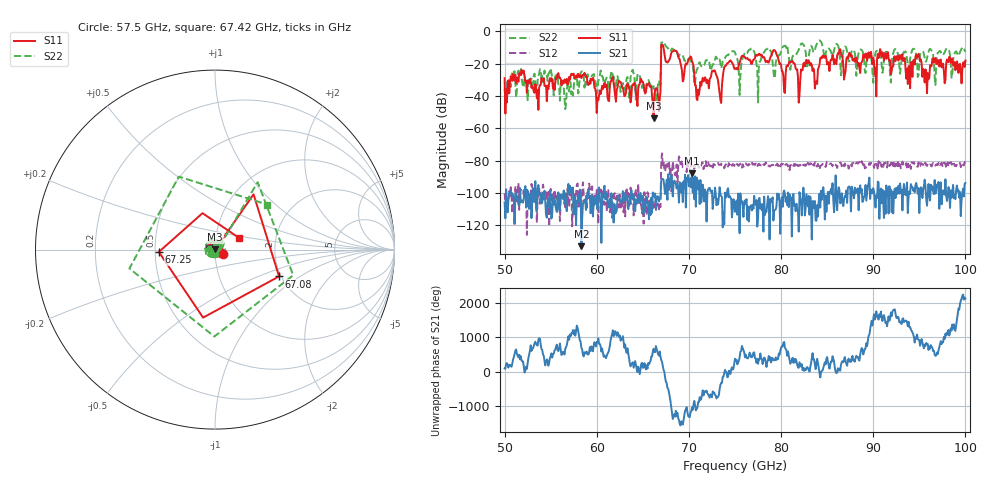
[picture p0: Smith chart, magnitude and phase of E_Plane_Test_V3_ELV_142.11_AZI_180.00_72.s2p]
! 11/26/2026 4:47:54 PM
! C:\ANRITSUVNA\TEMP\TEMP.S2P
! CHANNEL.1
! TR.MEASUREMENT
! RAW.DATA
# HZ S RI R 50.0
! FREQ.HZ  S11RE  S11IM  S21RE  S21IM  S12RE  S12IM  S22RE  S22IM
!; PortSelection: Port_12
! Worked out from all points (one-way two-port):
!   601 points, 50 GHz to 100 GHz, reference 50 ohm
!   highest |S21| = -87.81 dB at 70.33 GHz (marker M1); lowest = -133.0 dB at 58.33 GHz (marker M2)
!   lowest |S11| = -53.8 dB at 66.17 GHz (marker M3), VSWR 1.00, Z = 50.1 + j0.147 ohm
!   |S11| at or under -10 dB: start of sweep to 67 GHz; 67.25 GHz to end of sweep
!   |S22| runs from -48.1 to -5.6 dB; largest |S21 - S12| = 0.00019
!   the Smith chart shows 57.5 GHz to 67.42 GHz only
!   S11 on the Smith chart (normalised r, x): 57.5 GHz: 1.09, -0.05; 67.08 GHz: 1.95, -0.69; 67.25 GHz: 0.52, -0.02; 67.42 GHz: 1.29, +0.18
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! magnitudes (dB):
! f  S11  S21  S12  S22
! 50 GHz  -28.9  -106.0  -100.2  -35.8
! 51.67 GHz  -26.2  -96.9  -100.8  -23.2
! 57.5 GHz  -26.1  -113.3  -103.5  -34.6
! 58.33 GHz  -28.9  -133.0  -109.9  -24.9
! 58.42 GHz  -27.1  -115.5  -97.8  -24.7
! 60.17 GHz  -42.7  -97.9  -119.2  -30.4
! 66.17 GHz  -53.8  -100.5  -109.3  -34.0
! 66.67 GHz  -41.5  -102.3  -107.5  -31.6
! 67.08 GHz  -8.2  -91.4  -75.5  -6.8
! 67.25 GHz  -10.1  -91.9  -80.7  -6.2
! 67.42 GHz  -16.6  -100.7  -86.8  -8.3
! 70.33 GHz  -18.4  -87.8  -82.0  -19.2
! 70.92 GHz  -42.5  -97.1  -82.7  -23.1
! 75 GHz  -23.3  -111.7  -82.0  -13.0
! 79.25 GHz  -11.5  -111.0  -82.9  -29.0
! 80.25 GHz  -27.8  -100.3  -82.2  -9.3
! 83.42 GHz  -24.5  -105.0  -83.7  -10.8
! 91.67 GHz  -16.6  -112.8  -81.1  -15.2
! 93.75 GHz  -32.5  -112.5  -81.8  -21.3
! 94.83 GHz  -15.1  -100.4  -83.8  -28.2
! 95.83 GHz  -38.2  -107.9  -83.3  -16.6
! 100 GHz  -18.0  -93.8  -80.6  -12.6
